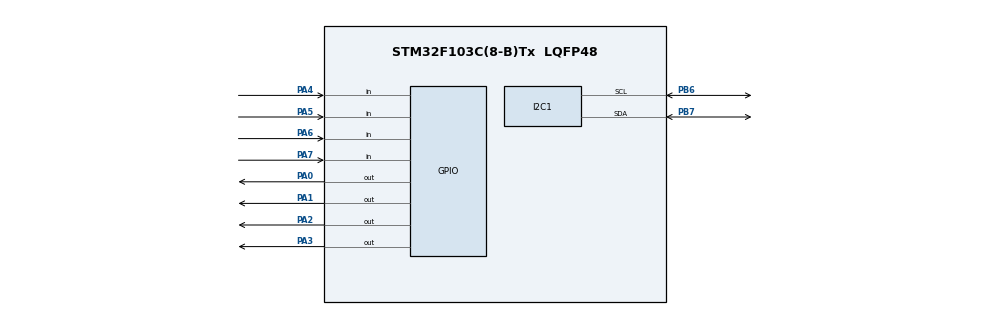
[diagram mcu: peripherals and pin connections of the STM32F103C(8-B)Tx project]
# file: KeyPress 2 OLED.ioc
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I2C1.I2C_Mode=I2C_Fast
Mcu.Family=STM32F1
Mcu.Name=STM32F103C(8-B)Tx
Mcu.Package=LQFP48
NVIC.PriorityGroup=NVIC_PRIORITYGROUP_4
PA0-WKUP.Signal=GPIO_Output
PA1.Signal=GPIO_Output
PA2.Signal=GPIO_Output
PA3.Signal=GPIO_Output
PA4.GPIO_PuPd=GPIO_PULLUP
PA4.Signal=GPIO_Input
PA5.GPIO_PuPd=GPIO_PULLUP
PA5.Signal=GPIO_Input
PA6.GPIO_PuPd=GPIO_PULLUP
PA6.Signal=GPIO_Input
PA7.GPIO_PuPd=GPIO_PULLUP
PA7.Signal=GPIO_Input
PB6.Mode=I2C
PB6.Signal=I2C1_SCL
PB7.Mode=I2C
PB7.Signal=I2C1_SDA
ProjectManager.HeapSize=0x200
ProjectManager.StackSize=0x400
ProjectManager.TargetToolchain=MDK-ARM V5.32
RCC.APB1Freq_Value=8000000
RCC.APB2Freq_Value=8000000
VP_SYS_VS_ND.Mode=No_Debug
board=custom

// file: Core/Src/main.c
/* USER CODE BEGIN Header */
/**
  ******************************************************************************
  * @file           : main.c
  * @brief          : Main program body
  ******************************************************************************
  * @attention
  *
  * Copyright (c) 2026 STMicroelectronics.
  * All rights reserved.
  *
  * This software is licensed under terms that can be found in the LICENSE file
  * in the root directory of this software component.
  * If no LICENSE file comes with this software, it is provided AS-IS.
  *
  ******************************************************************************
  */
/* USER CODE END Header */
#include "main.h"

/* USER CODE BEGIN Includes */
#include "fonts.h"
#include "ssd1306.h"
/* USER CODE END Includes */

I2C_HandleTypeDef hi2c1;

void SystemClock_Config(void);
static void MX_GPIO_Init(void);
static void MX_I2C1_Init(void);

/* USER CODE BEGIN 0 */
char getPressedKey(void)
{
    char key = 0;  // Default: no key pressed

    /* ------------------- CONFIGURATION ------------------- */
    /* -------- PORT VARIABLES -------- */
    GPIO_TypeDef *portRow = GPIOA; // change to your rows GPIO port - output
    GPIO_TypeDef *portCol = GPIOA; // change to your columns GPIO port - Input/pull down

    /* -------- PIN VARIABLES -------- */
    uint16_t rowPins[4] = {GPIO_PIN_7, GPIO_PIN_6, GPIO_PIN_5, GPIO_PIN_4}; // change to your row GPIO pins
    uint16_t colPins[4] = {GPIO_PIN_3, GPIO_PIN_2, GPIO_PIN_1, GPIO_PIN_0}; // change to your column GPIO pins
    /* ----------------------------------------------------- */

    // -------- ROW 1 --------
    HAL_GPIO_WritePin(portRow, rowPins[0], GPIO_PIN_SET);
    HAL_GPIO_WritePin(portRow, rowPins[1], GPIO_PIN_RESET);
    HAL_GPIO_WritePin(portRow, rowPins[2], GPIO_PIN_RESET);
    HAL_GPIO_WritePin(portRow, rowPins[3], GPIO_PIN_RESET);

    if (HAL_GPIO_ReadPin(portCol, colPins[0]) == GPIO_PIN_SET) key = '1';
    else if (HAL_GPIO_ReadPin(portCol, colPins[1]) == GPIO_PIN_SET) key = '2';
    else if (HAL_GPIO_ReadPin(portCol, colPins[2]) == GPIO_PIN_SET) key = '3';
    else if (HAL_GPIO_ReadPin(portCol, colPins[3]) == GPIO_PIN_SET) key = 'A';

    // -------- ROW 2 --------
    HAL_GPIO_WritePin(portRow, rowPins[0], GPIO_PIN_RESET);
    HAL_GPIO_WritePin(portRow, rowPins[1], GPIO_PIN_SET);

    if (HAL_GPIO_ReadPin(portCol, colPins[0]) == GPIO_PIN_SET) key = '4';
    else if (HAL_GPIO_ReadPin(portCol, colPins[1]) == GPIO_PIN_SET) key = '5';
    else if (HAL_GPIO_ReadPin(portCol, colPins[2]) == GPIO_PIN_SET) key = '6';
    else if (HAL_GPIO_ReadPin(portCol, colPins[3]) == GPIO_PIN_SET) key = 'B';

    // -------- ROW 3 --------
    HAL_GPIO_WritePin(portRow, rowPins[1], GPIO_PIN_RESET);
    HAL_GPIO_WritePin(portRow, rowPins[2], GPIO_PIN_SET);

    if (HAL_GPIO_ReadPin(portCol, colPins[0]) == GPIO_PIN_SET) key = '7';
    else if (HAL_GPIO_ReadPin(portCol, colPins[1]) == GPIO_PIN_SET) key = '8';
    else if (HAL_GPIO_ReadPin(portCol, colPins[2]) == GPIO_PIN_SET) key = '9';
    else if (HAL_GPIO_ReadPin(portCol, colPins[3]) == GPIO_PIN_SET) key = 'C';

    // -------- ROW 4 --------
    HAL_GPIO_WritePin(portRow, rowPins[2], GPIO_PIN_RESET);
    HAL_GPIO_WritePin(portRow, rowPins[3], GPIO_PIN_SET);

    if (HAL_GPIO_ReadPin(portCol, colPins[0]) == GPIO_PIN_SET) key = '*';
    else if (HAL_GPIO_ReadPin(portCol, colPins[1]) == GPIO_PIN_SET) key = '0';
    else if (HAL_GPIO_ReadPin(portCol, colPins[2]) == GPIO_PIN_SET) key = '#';
    else if (HAL_GPIO_ReadPin(portCol, colPins[3]) == GPIO_PIN_SET) key = 'D';

    // -------- DEBOUNCE --------
    if (key != 0)
    {
        HAL_Delay(20);
        return key;
    }

    return 0;  // No key pressed
}
/* USER CODE END 0 */

int main(void)
{

  /* MCU Configuration--------------------------------------------------------*/

  /* Reset of all peripherals, Initializes the Flash interface and the Systick. */
  HAL_Init();

  /* Configure the system clock */
  SystemClock_Config();

  /* Initialize all configured peripherals */
  MX_GPIO_Init();
  MX_I2C1_Init();
  /* USER CODE BEGIN 2 */
	SSD1306_Init();
  /* USER CODE END 2 */

  /* Infinite loop */
  while (1)
  {

  }
}

void SystemClock_Config(void)
{
  RCC_OscInitTypeDef RCC_OscInitStruct = {0};
  RCC_ClkInitTypeDef RCC_ClkInitStruct = {0};

  /** Initializes the RCC Oscillators according to the specified parameters
  * in the RCC_OscInitTypeDef structure.
  */
  RCC_OscInitStruct.OscillatorType = RCC_OSCILLATORTYPE_HSI;
  RCC_OscInitStruct.HSIState = RCC_HSI_ON;
  RCC_OscInitStruct.HSICalibrationValue = RCC_HSICALIBRATION_DEFAULT;
  RCC_OscInitStruct.PLL.PLLState = RCC_PLL_NONE;
  if (HAL_RCC_OscConfig(&RCC_OscInitStruct) != HAL_OK)
  {
    Error_Handler();
  }

  /** Initializes the CPU, AHB and APB buses clocks
  */
  RCC_ClkInitStruct.ClockType = RCC_CLOCKTYPE_HCLK|RCC_CLOCKTYPE_SYSCLK
                              |RCC_CLOCKTYPE_PCLK1|RCC_CLOCKTYPE_PCLK2;
  RCC_ClkInitStruct.SYSCLKSource = RCC_SYSCLKSOURCE_HSI;
  RCC_ClkInitStruct.AHBCLKDivider = RCC_SYSCLK_DIV1;
  RCC_ClkInitStruct.APB1CLKDivider = RCC_HCLK_DIV1;
  RCC_ClkInitStruct.APB2CLKDivider = RCC_HCLK_DIV1;

  if (HAL_RCC_ClockConfig(&RCC_ClkInitStruct, FLASH_LATENCY_0) != HAL_OK)
  {
    Error_Handler();
  }
}

static void MX_I2C1_Init(void)
{

  hi2c1.Instance = I2C1;
  hi2c1.Init.ClockSpeed = 400000;
  hi2c1.Init.DutyCycle = I2C_DUTYCYCLE_2;
  hi2c1.Init.OwnAddress1 = 0;
  hi2c1.Init.AddressingMode = I2C_ADDRESSINGMODE_7BIT;
  hi2c1.Init.DualAddressMode = I2C_DUALADDRESS_DISABLE;
  hi2c1.Init.OwnAddress2 = 0;
  hi2c1.Init.GeneralCallMode = I2C_GENERALCALL_DISABLE;
  hi2c1.Init.NoStretchMode = I2C_NOSTRETCH_DISABLE;
  if (HAL_I2C_Init(&hi2c1) != HAL_OK)
  {
    Error_Handler();
  }

}

static void MX_GPIO_Init(void)
{
  GPIO_InitTypeDef GPIO_InitStruct = {0};

  /* GPIO Ports Clock Enable */
  __HAL_RCC_GPIOA_CLK_ENABLE();
  __HAL_RCC_GPIOB_CLK_ENABLE();

  /*Configure GPIO pin Output Level */
  HAL_GPIO_WritePin(GPIOA, GPIO_PIN_0|GPIO_PIN_1|GPIO_PIN_2|GPIO_PIN_3, GPIO_PIN_RESET);

  /*Configure GPIO pins : PA0 PA1 PA2 PA3 */
  GPIO_InitStruct.Pin = GPIO_PIN_0|GPIO_PIN_1|GPIO_PIN_2|GPIO_PIN_3;
  GPIO_InitStruct.Mode = GPIO_MODE_OUTPUT_PP;
  GPIO_InitStruct.Pull = GPIO_NOPULL;
  GPIO_InitStruct.Speed = GPIO_SPEED_FREQ_LOW;
  HAL_GPIO_Init(GPIOA, &GPIO_InitStruct);

  /*Configure GPIO pins : PA4 PA5 PA6 PA7 */
  GPIO_InitStruct.Pin = GPIO_PIN_4|GPIO_PIN_5|GPIO_PIN_6|GPIO_PIN_7;
  GPIO_InitStruct.Mode = GPIO_MODE_INPUT;
  GPIO_InitStruct.Pull = GPIO_PULLUP;
  HAL_GPIO_Init(GPIOA, &GPIO_InitStruct);

}

void Error_Handler(void)
{
  __disable_irq();
  while (1)
  {
  }
}
